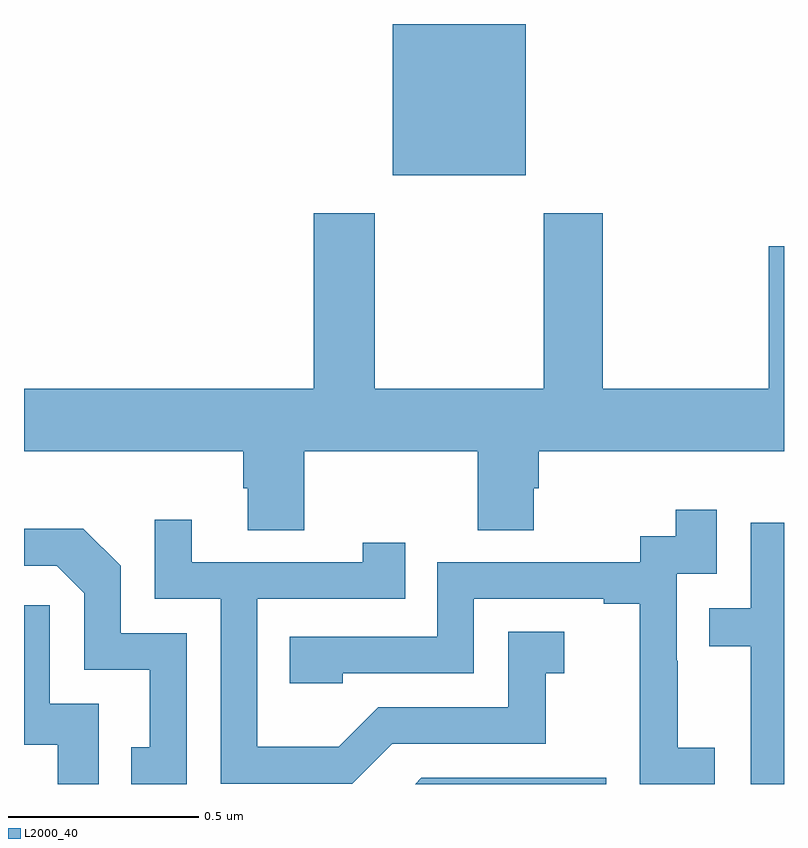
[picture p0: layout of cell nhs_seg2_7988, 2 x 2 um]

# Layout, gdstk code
import gdstk
lib = gdstk.Library(unit=1e-6, precision=1e-09)
def R(c, l, rs):  # rectangles x0, y0, x1, y1
    for r in rs: c.add(gdstk.rectangle(r[:2], r[2:], *l))
def P(c, l, *ps):  # polygons
    for p in ps: c.add(gdstk.Polygon(p, *l))
L2000_40 = (2000, 40)

nhs_seg2_7988 = lib.new_cell('nhs_seg2_7988')
R(nhs_seg2_7988, L2000_40, [(211.97,608.402,212.32,608.8)])
P(nhs_seg2_7988, L2000_40, [(211.737,607.676),(212.194,607.676),(212.194,607.468),(212.341,607.468),(212.341,607.578),(212.354,607.578),(212.354,607.676),(213,607.676),(213,608.215),(212.96,608.215),(212.96,607.84),(212.523,607.84),(212.523,608.302),(212.368,608.302),(212.368,607.84),(211.923,607.84),(211.923,608.302),(211.763,608.302),(211.763,607.84),(211,607.84),(211,607.676),(211.577,607.676),(211.577,607.578),(211.589,607.578),(211.589,607.468),(211.737,607.468)],
  [(212.818,606.895),(212.72,606.895),(212.72,607.124),(212.718,607.124),(212.718,607.353),(212.823,607.353),(212.823,607.522),(212.715,607.522),(212.715,607.452),(212.622,607.452),(212.622,607.383),(212.088,607.383),(212.088,607.188),(211.699,607.188),(211.699,607.065),(211.839,607.065),(211.839,607.092),(212.184,607.092),(212.184,607.287),(212.525,607.287),(212.525,607.275),(212.621,607.275),(212.621,606.991),(212.62,606.991),(212.62,606.8),(212.818,606.8)],
  [(211.969,606.906),(212.373,606.906),(212.373,607.091),(212.422,607.091),(212.422,607.201),(212.274,607.201),(212.274,607.002),(211.932,607.002),(211.828,606.898),(211.614,606.898),(211.614,607.287),(212.003,607.287),(212.003,607.435),(211.892,607.435),(211.892,607.383),(211.441,607.383),(211.441,607.495),(211.344,607.495),(211.344,607.287),(211.518,607.287),(211.518,606.801),(211.864,606.801)],
  [(213,607.488),(212.913,607.488),(212.913,607.263),(212.803,607.263),(212.803,607.162),(212.913,607.162),(212.913,606.8),(213,606.8)],
  [(211.428,607.197),(211.254,607.197),(211.254,607.374),(211.156,607.472),(211,607.472),(211,607.374),(211.086,607.374),(211.158,607.302),(211.158,607.101),(211.331,607.101),(211.331,606.897),(211.282,606.897),(211.282,606.8),(211.428,606.8)],
  [(211.197,607.011),(211.068,607.011),(211.068,607.27),(211,607.27),(211,606.903),(211.089,606.903),(211.089,606.8),(211.197,606.8)],
  [(212.532,606.816),(212.046,606.816),(212.03,606.8),(212.532,606.8)])

lib.write_gds('nhs_seg2_7988.gds')
